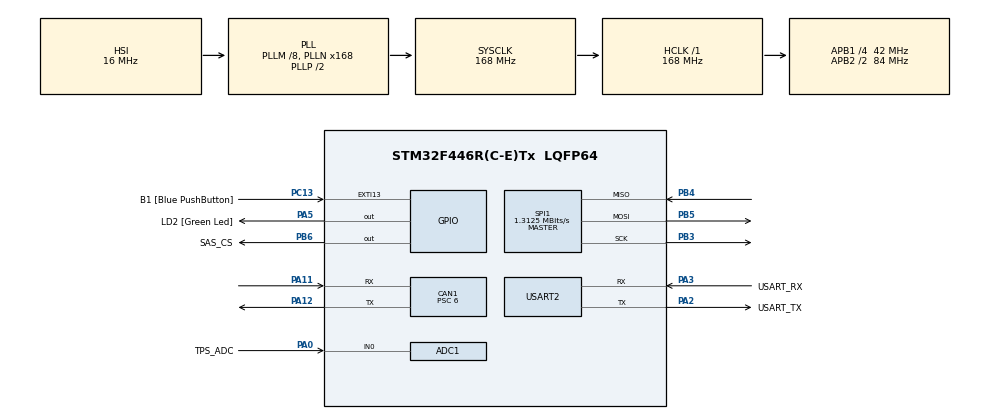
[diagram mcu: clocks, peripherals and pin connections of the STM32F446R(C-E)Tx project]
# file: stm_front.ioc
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ADC1.Channel-0\#ChannelRegularConversion=ADC_CHANNEL_0
ADC1.NbrOfConversionFlag=1
ADC1.Rank-0\#ChannelRegularConversion=1
ADC1.SamplingTime-0\#ChannelRegularConversion=ADC_SAMPLETIME_84CYCLES
ADC1.master=1
CAN1.ABOM=ENABLE
CAN1.BS1=CAN_BS1_10TQ
CAN1.BS2=CAN_BS2_3TQ
CAN1.CalculateBaudRate=500000
CAN1.CalculateTimeBit=2000
CAN1.CalculateTimeQuantum=142.85714285714286
CAN1.NART=ENABLE
CAN1.Prescaler=6
Mcu.Family=STM32F4
Mcu.Name=STM32F446R(C-E)Tx
Mcu.Package=LQFP64
NVIC.PriorityGroup=NVIC_PRIORITYGROUP_0
NVIC.CAN1_RX0_IRQn=true\:1\:0\:true\:false\:true\:true\:true\:true
NVIC.TIM6_DAC_IRQn=true\:0\:0\:false\:false\:true\:true\:true\:true
PA0-WKUP.GPIO_Label=TPS_ADC
PA0-WKUP.Signal=ADCx_IN0
PA11.GPIO_Speed=GPIO_SPEED_FREQ_HIGH
PA11.Mode=CAN_Activate
PA11.Signal=CAN1_RX
PA12.GPIO_Speed=GPIO_SPEED_FREQ_HIGH
PA12.Mode=CAN_Activate
PA12.Signal=CAN1_TX
PA13.GPIO_Label=TMS
PA13.Mode=Serial_Wire
PA13.Signal=SYS_JTMS-SWDIO
PA14.GPIO_Label=TCK
PA14.Mode=Serial_Wire
PA14.Signal=SYS_JTCK-SWCLK
PA2.GPIO_Label=USART_TX
PA2.Mode=Asynchronous
PA2.Signal=USART2_TX
PA3.GPIO_Label=USART_RX
PA3.Mode=Asynchronous
PA3.Signal=USART2_RX
PA5.GPIO_Label=LD2 [Green Led]
PA5.Signal=GPIO_Output
PB3.GPIO_Speed=GPIO_SPEED_FREQ_HIGH
PB3.Mode=Full_Duplex_Master
PB3.Signal=SPI1_SCK
PB4.GPIO_Speed=GPIO_SPEED_FREQ_HIGH
PB4.Mode=Full_Duplex_Master
PB4.Signal=SPI1_MISO
PB5.GPIO_Speed=GPIO_SPEED_FREQ_HIGH
PB5.Mode=Full_Duplex_Master
PB5.Signal=SPI1_MOSI
PB6.GPIO_Label=SAS_CS
PB6.GPIO_PuPd=GPIO_PULLUP
PB6.GPIO_Speed=GPIO_SPEED_FREQ_MEDIUM
PB6.PinState=GPIO_PIN_SET
PB6.Signal=GPIO_Output
PC13.GPIO_Label=B1 [Blue PushButton]
PC13.GPIO_ModeDefaultEXTI=GPIO_MODE_IT_FALLING
PC13.Signal=GPXTI13
PC14-OSC32_IN.Mode=LSE-External-Oscillator
PC14-OSC32_IN.Signal=RCC_OSC32_IN
PC15-OSC32_OUT.Mode=LSE-External-Oscillator
PC15-OSC32_OUT.Signal=RCC_OSC32_OUT
PH0-OSC_IN.Mode=HSE-External-Oscillator
PH0-OSC_IN.Signal=RCC_OSC_IN
PH1-OSC_OUT.Mode=HSE-External-Oscillator
PH1-OSC_OUT.Signal=RCC_OSC_OUT
ProjectManager.HeapSize=0x200
ProjectManager.StackSize=0x400
ProjectManager.TargetToolchain=STM32CubeIDE
RCC.48MHZClocksFreq_Value=84000000
RCC.AHBFreq_Value=168000000
RCC.APB1CLKDivider=RCC_HCLK_DIV4
RCC.APB1Freq_Value=42000000
RCC.APB1TimFreq_Value=84000000
RCC.APB2CLKDivider=RCC_HCLK_DIV2
RCC.APB2Freq_Value=84000000
RCC.APB2TimFreq_Value=168000000
RCC.CortexFreq_Value=168000000
RCC.FLatency-AdvancedSettings=FLASH_LATENCY_5
RCC.HCLKFreq_Value=168000000
RCC.HSE_VALUE=16000000
RCC.HSI_VALUE=16000000
RCC.PLLM=8
RCC.PLLN=168
RCC.SYSCLKFreq_VALUE=168000000
RCC.SYSCLKSource=RCC_SYSCLKSOURCE_PLLCLK
RCC.USBFreq_Value=168000000
RCC.VCOOutputFreq_Value=336000000
SH.ADCx_IN0.0=ADC1_IN0,IN0
SPI1.BaudRatePrescaler=SPI_BAUDRATEPRESCALER_64
SPI1.CLKPhase=SPI_PHASE_2EDGE
SPI1.CalculateBaudRate=1.3125 MBits/s
SPI1.DataSize=SPI_DATASIZE_16BIT
SPI1.Direction=SPI_DIRECTION_2LINES
SPI1.Mode=SPI_MODE_MASTER
SPI1.VirtualType=VM_MASTER
TIM6.Period=999
TIM6.Prescaler=839
TIM6.TIM_MasterOutputTrigger=TIM_TRGO_UPDATE
USART2.VirtualMode=VM_ASYNC
VP_TIM6_VS_ClockSourceINT.Mode=Enable_Timer
board=NUCLEO-F446RE

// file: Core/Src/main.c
/* USER CODE BEGIN Header */
/**
  ******************************************************************************
  * @file           : main.c
  * @brief          : Main program body
  ******************************************************************************
  * @attention
  *
  * Copyright (c) 2026 STMicroelectronics.
  * All rights reserved.
  *
  * This software is licensed under terms that can be found in the LICENSE file
  * in the root directory of this software component.
  * If no LICENSE file comes with this software, it is provided AS-IS.
  *
  ******************************************************************************
  */
/* USER CODE END Header */
#include "main.h"

/* USER CODE BEGIN Includes */
#include "board_config.h"
#include "sas_sensor.h"
#include "tps_sensor.h"
#include "can_comm.h"
#include "can_messages.h"
#include "driver_controls.h"
#include "dial_inputs.h"
#include "front_cli.h"
#include "../../../../shared/include/djy_watchdog.h"

/* USER CODE END Includes */

ADC_HandleTypeDef hadc1;

CAN_HandleTypeDef hcan1;

SPI_HandleTypeDef hspi1;

TIM_HandleTypeDef htim6;

UART_HandleTypeDef huart2;

/* USER CODE BEGIN PV */
static volatile uint8_t s_pending_10ms = 0;
static uint8_t s_hb_counter = 0;
static uint8_t s_led_counter = 0;
/* USER CODE END PV */

void SystemClock_Config(void);
static void MX_GPIO_Init(void);
static void MX_ADC1_Init(void);
static void MX_CAN1_Init(void);
static void MX_SPI1_Init(void);
static void MX_TIM6_Init(void);
static void MX_USART2_UART_Init(void);

int main(void)
{

  /* MCU Configuration--------------------------------------------------------*/

  /* Reset of all peripherals, Initializes the Flash interface and the Systick. */
  HAL_Init();

  /* Configure the system clock */
  SystemClock_Config();

  /* Initialize all configured peripherals */
  MX_GPIO_Init();
  MX_ADC1_Init();
  MX_CAN1_Init();
  MX_SPI1_Init();
  MX_TIM6_Init();
  MX_USART2_UART_Init();
  /* USER CODE BEGIN 2 */
  SAS_Init();
  TPS_Init();
  DriverControls_Init();
  DialInputs_Init();
  CAN_Init();
  FrontCli_Init();
  DjyWatchdog_Init();
  HAL_TIM_Base_Start_IT(&htim6);   /* 100Hz scheduler tick */
  /* USER CODE END 2 */

  /* Infinite loop */
  while (1)
  {

    /* USER CODE BEGIN 3 */
    DjyWatchdog_Kick();
    FrontCli_Process();
    bool run_cycle = false;
    uint32_t primask = __get_PRIMASK();
    __disable_irq();
    if (s_pending_10ms > 0u) {
      --s_pending_10ms;
      run_cycle = true;
    }
    if (primask == 0u) __enable_irq();

    if (run_cycle) {
      uint16_t sas = SAS_ReadAngle();
      uint16_t tps = TPS_ReadRaw();
      DialInputs_Update10ms();
      uint8_t status = HB_STATUS_OK;
      if (SAS_HasError())    status |= HB_STATUS_SAS_ERR;
      if (!TPS_IsValid(tps)) status |= HB_STATUS_TPS_ERR;

      (void)CAN_SendSensorData(sas, tps);
      DjyDriverControl control = DriverControls_NextMessage();
      (void)CAN_SendDriverControl(&control);

      if (++s_hb_counter >= HEARTBEAT_DIV) {
        s_hb_counter = 0u;
        (void)CAN_SendHeartbeat(status);
      }
      if (++s_led_counter >= 25u) {
        s_led_counter = 0u;
        HAL_GPIO_TogglePin(LED_PORT, LED_PIN);
      }
    }
  }
  /* USER CODE END 3 */
}

void SystemClock_Config(void)
{
  RCC_OscInitTypeDef RCC_OscInitStruct = {0};
  RCC_ClkInitTypeDef RCC_ClkInitStruct = {0};

  /** Configure the main internal regulator output voltage
  */
  __HAL_RCC_PWR_CLK_ENABLE();
  __HAL_PWR_VOLTAGESCALING_CONFIG(PWR_REGULATOR_VOLTAGE_SCALE1);

  /** Initializes the RCC Oscillators according to the specified parameters
  * in the RCC_OscInitTypeDef structure.
  */
  RCC_OscInitStruct.OscillatorType = RCC_OSCILLATORTYPE_HSI;
  RCC_OscInitStruct.HSIState = RCC_HSI_ON;
  RCC_OscInitStruct.HSICalibrationValue = RCC_HSICALIBRATION_DEFAULT;
  RCC_OscInitStruct.PLL.PLLState = RCC_PLL_ON;
  RCC_OscInitStruct.PLL.PLLSource = RCC_PLLSOURCE_HSI;
  RCC_OscInitStruct.PLL.PLLM = 8;
  RCC_OscInitStruct.PLL.PLLN = 168;
  RCC_OscInitStruct.PLL.PLLP = RCC_PLLP_DIV2;
  RCC_OscInitStruct.PLL.PLLQ = 2;
  RCC_OscInitStruct.PLL.PLLR = 2;
  if (HAL_RCC_OscConfig(&RCC_OscInitStruct) != HAL_OK)
  {
    Error_Handler();
  }

  /** Initializes the CPU, AHB and APB buses clocks
  */
  RCC_ClkInitStruct.ClockType = RCC_CLOCKTYPE_HCLK|RCC_CLOCKTYPE_SYSCLK
                              |RCC_CLOCKTYPE_PCLK1|RCC_CLOCKTYPE_PCLK2;
  RCC_ClkInitStruct.SYSCLKSource = RCC_SYSCLKSOURCE_PLLCLK;
  RCC_ClkInitStruct.AHBCLKDivider = RCC_SYSCLK_DIV1;
  RCC_ClkInitStruct.APB1CLKDivider = RCC_HCLK_DIV4;
  RCC_ClkInitStruct.APB2CLKDivider = RCC_HCLK_DIV2;

  if (HAL_RCC_ClockConfig(&RCC_ClkInitStruct, FLASH_LATENCY_5) != HAL_OK)
  {
    Error_Handler();
  }
}

static void MX_ADC1_Init(void)
{

  ADC_ChannelConfTypeDef sConfig = {0};

  /** Configure the global features of the ADC (Clock, Resolution, Data Alignment and number of conversion)
  */
  hadc1.Instance = ADC1;
  hadc1.Init.ClockPrescaler = ADC_CLOCK_SYNC_PCLK_DIV4;
  hadc1.Init.Resolution = ADC_RESOLUTION_12B;
  hadc1.Init.ScanConvMode = DISABLE;
  hadc1.Init.ContinuousConvMode = DISABLE;
  hadc1.Init.DiscontinuousConvMode = DISABLE;
  hadc1.Init.ExternalTrigConvEdge = ADC_EXTERNALTRIGCONVEDGE_NONE;
  hadc1.Init.ExternalTrigConv = ADC_SOFTWARE_START;
  hadc1.Init.DataAlign = ADC_DATAALIGN_RIGHT;
  hadc1.Init.NbrOfConversion = 1;
  hadc1.Init.DMAContinuousRequests = DISABLE;
  hadc1.Init.EOCSelection = ADC_EOC_SINGLE_CONV;
  if (HAL_ADC_Init(&hadc1) != HAL_OK)
  {
    Error_Handler();
  }

  /** Configure for the selected ADC regular channel its corresponding rank in the sequencer and its sample time.
  */
  sConfig.Channel = ADC_CHANNEL_0;
  sConfig.Rank = 1;
  sConfig.SamplingTime = ADC_SAMPLETIME_84CYCLES;
  if (HAL_ADC_ConfigChannel(&hadc1, &sConfig) != HAL_OK)
  {
    Error_Handler();
  }

}

static void MX_CAN1_Init(void)
{

  hcan1.Instance = CAN1;
  hcan1.Init.Prescaler = 6;
  hcan1.Init.Mode = CAN_MODE_NORMAL;
  hcan1.Init.SyncJumpWidth = CAN_SJW_1TQ;
  hcan1.Init.TimeSeg1 = CAN_BS1_10TQ;
  hcan1.Init.TimeSeg2 = CAN_BS2_3TQ;
  hcan1.Init.TimeTriggeredMode = DISABLE;
  hcan1.Init.AutoBusOff = ENABLE;
  hcan1.Init.AutoWakeUp = DISABLE;
  hcan1.Init.AutoRetransmission = ENABLE;
  hcan1.Init.ReceiveFifoLocked = DISABLE;
  hcan1.Init.TransmitFifoPriority = DISABLE;
  if (HAL_CAN_Init(&hcan1) != HAL_OK)
  {
    Error_Handler();
  }

}

static void MX_SPI1_Init(void)
{

  /* SPI1 parameter configuration*/
  hspi1.Instance = SPI1;
  hspi1.Init.Mode = SPI_MODE_MASTER;
  hspi1.Init.Direction = SPI_DIRECTION_2LINES;
  hspi1.Init.DataSize = SPI_DATASIZE_16BIT;
  hspi1.Init.CLKPolarity = SPI_POLARITY_LOW;
  hspi1.Init.CLKPhase = SPI_PHASE_2EDGE;
  hspi1.Init.NSS = SPI_NSS_SOFT;
  hspi1.Init.BaudRatePrescaler = SPI_BAUDRATEPRESCALER_64;
  hspi1.Init.FirstBit = SPI_FIRSTBIT_MSB;
  hspi1.Init.TIMode = SPI_TIMODE_DISABLE;
  hspi1.Init.CRCCalculation = SPI_CRCCALCULATION_DISABLE;
  hspi1.Init.CRCPolynomial = 10;
  if (HAL_SPI_Init(&hspi1) != HAL_OK)
  {
    Error_Handler();
  }

}

static void MX_TIM6_Init(void)
{

  TIM_MasterConfigTypeDef sMasterConfig = {0};

  htim6.Instance = TIM6;
  htim6.Init.Prescaler = 839;
  htim6.Init.CounterMode = TIM_COUNTERMODE_UP;
  htim6.Init.Period = 999;
  htim6.Init.AutoReloadPreload = TIM_AUTORELOAD_PRELOAD_DISABLE;
  if (HAL_TIM_Base_Init(&htim6) != HAL_OK)
  {
    Error_Handler();
  }
  sMasterConfig.MasterOutputTrigger = TIM_TRGO_UPDATE;
  sMasterConfig.MasterSlaveMode = TIM_MASTERSLAVEMODE_DISABLE;
  if (HAL_TIMEx_MasterConfigSynchronization(&htim6, &sMasterConfig) != HAL_OK)
  {
    Error_Handler();
  }

}

static void MX_USART2_UART_Init(void)
{

  huart2.Instance = USART2;
  huart2.Init.BaudRate = 115200;
  huart2.Init.WordLength = UART_WORDLENGTH_8B;
  huart2.Init.StopBits = UART_STOPBITS_1;
  huart2.Init.Parity = UART_PARITY_NONE;
  huart2.Init.Mode = UART_MODE_TX_RX;
  huart2.Init.HwFlowCtl = UART_HWCONTROL_NONE;
  huart2.Init.OverSampling = UART_OVERSAMPLING_16;
  if (HAL_UART_Init(&huart2) != HAL_OK)
  {
    Error_Handler();
  }

}

static void MX_GPIO_Init(void)
{
  GPIO_InitTypeDef GPIO_InitStruct = {0};

  /* GPIO Ports Clock Enable */
  __HAL_RCC_GPIOC_CLK_ENABLE();
  __HAL_RCC_GPIOH_CLK_ENABLE();
  __HAL_RCC_GPIOA_CLK_ENABLE();
  __HAL_RCC_GPIOB_CLK_ENABLE();

  /*Configure GPIO pin Output Level */
  HAL_GPIO_WritePin(LD2_GPIO_Port, LD2_Pin, GPIO_PIN_RESET);

  /*Configure GPIO pin Output Level */
  HAL_GPIO_WritePin(SAS_CS_GPIO_Port, SAS_CS_Pin, GPIO_PIN_SET);

  /*Configure GPIO pin : B1_Pin */
  GPIO_InitStruct.Pin = B1_Pin;
  GPIO_InitStruct.Mode = GPIO_MODE_IT_FALLING;
  GPIO_InitStruct.Pull = GPIO_NOPULL;
  HAL_GPIO_Init(B1_GPIO_Port, &GPIO_InitStruct);

  /*Configure GPIO pin : LD2_Pin */
  GPIO_InitStruct.Pin = LD2_Pin;
  GPIO_InitStruct.Mode = GPIO_MODE_OUTPUT_PP;
  GPIO_InitStruct.Pull = GPIO_NOPULL;
  GPIO_InitStruct.Speed = GPIO_SPEED_FREQ_LOW;
  HAL_GPIO_Init(LD2_GPIO_Port, &GPIO_InitStruct);

  /*Configure GPIO pin : SAS_CS_Pin */
  GPIO_InitStruct.Pin = SAS_CS_Pin;
  GPIO_InitStruct.Mode = GPIO_MODE_OUTPUT_PP;
  GPIO_InitStruct.Pull = GPIO_PULLUP;
  GPIO_InitStruct.Speed = GPIO_SPEED_FREQ_MEDIUM;
  HAL_GPIO_Init(SAS_CS_GPIO_Port, &GPIO_InitStruct);

}

/* USER CODE BEGIN 4 */
void HAL_TIM_PeriodElapsedCallback(TIM_HandleTypeDef *htim) {
    if (htim->Instance == TIM6) {
        /* Keep blocking SPI/ADC transactions out of the highest-priority ISR.
         * Two queued cycles are enough to absorb a short main-loop delay; a
         * larger backlog would only replay stale samples. */
        if (s_pending_10ms < 2u) ++s_pending_10ms;
    }
}

/* USER CODE END 4 */

void Error_Handler(void)
{
  __disable_irq();
  while (1)
  {
  }
}
